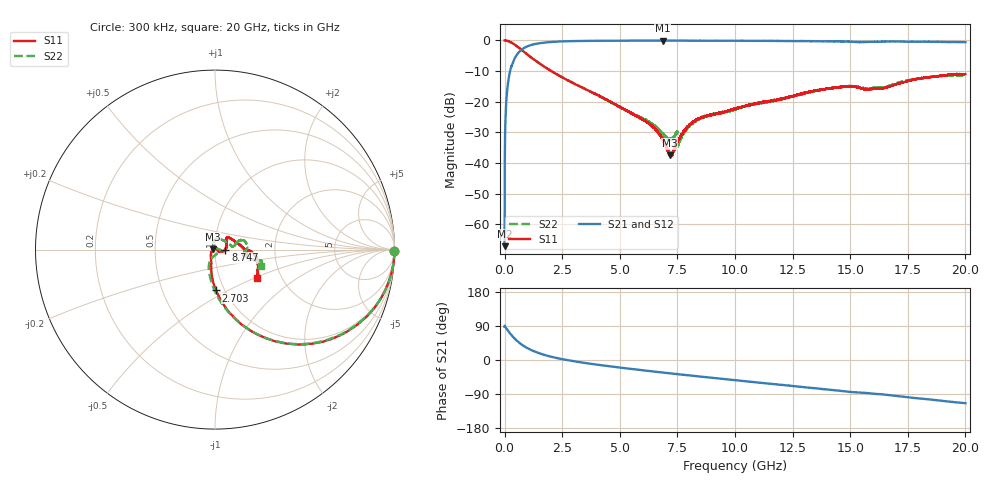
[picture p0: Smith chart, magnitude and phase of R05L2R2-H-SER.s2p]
!{R05L2R2}
!Johanson Technology Inc.
!www.johansontechnology.com
!Test Board Conditions:
!Substrate Type  RO4350B
!Substrate Thickness  10 mil
!Substrate Dk  3.66
!TL Type: GCPW
!TL Trace Width  22 mil
!TL Gap  25 mil
!Electrode orientation  Horizontal
!DUT TOPOLOGY	SERIES
!Mounting Pad LxW  11x14.5 mil
! Created Wed Nov 25 17:33:21 2020
! 2 Port Network Data from SP1.SP block
! freq  magS11  angS11  magS21  angS21  magS12  angS12  magS22  angS22
# khz S ma R 50
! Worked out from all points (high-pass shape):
!   20001 points, 300 kHz to 20 GHz, reference 50 ohm
!   highest |S21| = -0.04 dB at 6.864 GHz (marker M1); lowest = -67.1 dB at 300 kHz (marker M2)
!   |S21| within 3 dB of the highest: 733.3 MHz to end of sweep
!   lowest |S11| = -37.5 dB at 7.165 GHz (marker M3), VSWR 1.03, Z = 48.7 + j0.219 ohm
!   |S11| at or under -10 dB: 2.028 GHz to end of sweep
!   |S22| runs from -34.6 to 0.0 dB; largest |S21 - S12| = 0.014
!   S11 on the Smith chart (normalised r, x): 300 kHz: open; 2.703 GHz: 0.91, -0.44; 8.747 GHz: 1.12, -0.00; 20 GHz: 1.51, -0.51
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300  1 -0.3  0.0004432 87.7  0.0004199 90.1  0.9998 -0.3
101300  0.9895 -8.7  0.14 81.2  0.1405 81.2  0.9898 -8.6
119300  0.9854 -10.2  0.1643 79.7  0.1649 79.7  0.986 -10.1
217300  0.955 -18.2  0.29 71.7  0.291 71.6  0.9551 -18.0
385300  0.8824 -29.7  0.4625 59.8  0.4634 59.9  0.8817 -29.5
708300  0.7155 -47.6  0.6915 42.1  0.6922 42.2  0.7152 -47.3
1245300  0.4975 -65.9  0.8612 23.9  0.8605 23.8  0.4999 -65.6
2703300  0.2279 -88.5  0.9711 -0.1  0.97 -0.1  0.2298 -90.4
3334300  0.1734 -94.0  0.9805 -6.4  0.981 -6.4  0.1741 -97.2
6021300  0.0506 -116.5  0.994 -27.3  0.994 -27.3  0.05308 -113.0
6667300  0.03136 -133.1  0.9941 -31.8  0.9944 -31.8  0.03567 -97.1
6864300  0.02451 -145.4  0.9958 -33.1  0.9945 -33.2  0.03028 -86.7
7165300  0.01337 170.3  0.9942 -35.1  0.9938 -35.1  0.02462 -51.3
7399300  0.01757 112.9  0.9937 -36.6  0.9936 -36.6  0.02885 -17.3
7600300  0.0257 -26.2  0.9939 -38.0  0.9934 -38.0  0.02349 116.1
8046300  0.04317 -12.8  0.9934 -40.8  0.9928 -40.8  0.04062 102.3
8747300  0.0581 -0.6  0.991 -45.3  0.9914 -45.3  0.05862 84.0
1.00003e7  0.07686 36.0  0.9889 -53.2  0.9884 -53.2  0.07609 34.9
1.33343e7  0.1485 7.1  0.9738 -73.6  0.9746 -73.8  0.1464 20.3
1.66673e7  0.1761 -1.8  0.9639 -92.6  0.9541 -92.3  0.181 -12.4
1.81403e7  0.2422 -13.8  0.9571 -102.3  0.9457 -102.1  0.2452 -15.2
2e7  0.2824 -33.6  0.9372 -114.0  0.9299 -114.0  0.2729 -20.0
